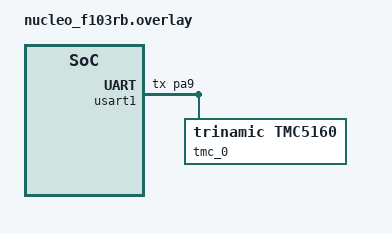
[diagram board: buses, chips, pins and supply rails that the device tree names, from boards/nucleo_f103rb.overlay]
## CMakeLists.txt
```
# Copyright (c) 2022, Stefano Cottafavi <stefano.cottafavi@gmail.com>
#
# SPDX-License-Identifier: Apache-2.0

list(APPEND ZEPHYR_EXTRA_MODULES
	${CMAKE_CURRENT_SOURCE_DIR}/../../drivers
)

list(APPEND OVERLAY_CONFIG
#	${CMAKE_CURRENT_SOURCE_DIR}/../../drivers/tmc5160/tmc5160-uart.conf
)

cmake_minimum_required(VERSION 3.20.0)

# required for apps
find_package(Zephyr REQUIRED HINTS $ENV{ZEPHYR_BASE})

project(tmc_uart)

zephyr_include_directories(src)

target_sources(app PRIVATE
	src/main.c
)
```

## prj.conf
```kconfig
#CONFIG_SHELL=y
#CONFIG_SHELL_BACKEND_SERIAL_RX_POLL_PERIOD=100

#CONFIG_SHELL_BACKEND_SERIAL=y
#CONFIG_SHELL_MINIMAL=y
#CONFIG_SHELL_LOG_BACKEND=y

#CONFIG_UART_CONSOLE=y

CONFIG_STDOUT_CONSOLE=y
CONFIG_PRINTK=y

CONFIG_LOG=y
CONFIG_LOG_PRINTK=y
CONFIG_LOG_MODE_IMMEDIATE=y

CONFIG_GPIO=y

CONFIG_SENSOR=y
CONFIG_SENSOR_LOG_LEVEL_DBG=y

CONFIG_TMC_UART=y
CONFIG_TMC5160=y
```

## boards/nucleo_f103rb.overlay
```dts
/*
 * Copyright (c) 2022, Stefano Cottafavi <stefano.cottafavi@gmail.com>
 *
 * SPDX-License-Identifier: Apache-2.0
 */

 #include <zephyr/dt-bindings/pinctrl/stm32f1-pinctrl.h>

/ {
	aliases {
	   uart1 = &usart1;
	   uart2 = &usart2;
	   tmc0 = &tmc_0;
   };
};

// USART1 tx:PA9 (rx:PA10, not used in single-wire mode)

&usart1 {

	single-wire;
	pinctrl-0 = <&usart1_tx_pa9>;

	tmc_0:tmc5160 {
		compatible = "trinamic,tmc5160";
		status = "okay";
	};
};
```

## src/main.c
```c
/*
 * Copyright (c) 2022, Stefano Cottafavi <stefano.cottafavi@gmail.com>
 *
 * SPDX-License-Identifier: Apache-2.0
 */

#include <zephyr/kernel.h>
#include <zephyr/device.h>
#include <zephyr/drivers/gpio.h>
#include <zephyr/sys/util.h>

#include "tmc5160.h"

#define UART_NODE1 DT_ALIAS(uart1)
#define UART_NODE2 DT_ALIAS(uart2)

#define SLEEP_TIME_MS   1000

uint8_t toggle, toggle_old;

const struct device *tmc0 = DEVICE_DT_GET( DT_ALIAS(tmc0) );
struct gpio_dt_spec led = GPIO_DT_SPEC_GET( DT_ALIAS(led0), gpios);

const struct device *uart1 = DEVICE_DT_GET(UART_NODE1);
const struct device *uart2 = DEVICE_DT_GET(UART_NODE2);

#define SW0_NODE	DT_ALIAS(sw0)
#if !DT_NODE_HAS_STATUS(SW0_NODE, okay)
#error "Unsupported board: sw0 devicetree alias is not defined"
#endif
static const struct gpio_dt_spec button = GPIO_DT_SPEC_GET_OR(SW0_NODE, gpios, {0});
static struct gpio_callback button_cb_data;

// start/stop motor
void button_pressed(const struct device *dev, struct gpio_callback *cb, uint32_t pins) {
	toggle = !toggle;
}

void main(void)
{
	int ret;

	// config button
	if (!device_is_ready(button.port)) {
		printk("Error: button device %s is not ready\n",
		       button.port->name);
		return;
	}

	ret = gpio_pin_configure_dt(&button, GPIO_INPUT);
	if (ret != 0) {
		printk("Error %d: failed to configure %s pin %d\n",
		       ret, button.port->name, button.pin);
		return;
	}

	ret = gpio_pin_interrupt_configure_dt(&button, GPIO_INT_EDGE_TO_ACTIVE);
	if (ret != 0) {
		printk("Error %d: failed to configure interrupt on %s pin %d\n",
			ret, button.port->name, button.pin);
		return;
	}

	gpio_init_callback(&button_cb_data, button_pressed, BIT(button.pin));
	gpio_add_callback(button.port, &button_cb_data);
	printk("Set up button at %s pin %d\n", button.port->name, button.pin);



	// config UARTs
	if (!device_is_ready(uart1) ||
		!device_is_ready(uart2)) {
		printk("uart devices not ready\n");
		return;
	}

	// check tmc
	if (!device_is_ready(tmc0)) {
		printk("TMC device not ready\n");
		return;
	}

	// config LED
	if( !device_is_ready(led.port) ) {
		return;
	}
	if( gpio_pin_configure_dt(&led, GPIO_OUTPUT_ACTIVE) < 0 ) {
		return;
	}
	gpio_pin_set_dt(&led, 0);

	// set stand-still in speed mode
	tmc_run(tmc0, 0, 0, 0);

	while (1) {

		if(toggle!=toggle_old) {
			// set LED
			if( gpio_pin_set_dt(&led, toggle) < 0 ) {
				return;
			}
			// start/stop motor
			tmc_run(tmc0, 0, toggle*60, 0);

			toggle_old = toggle;
		}

		k_sleep(K_MSEC(100));
	}
}
```
